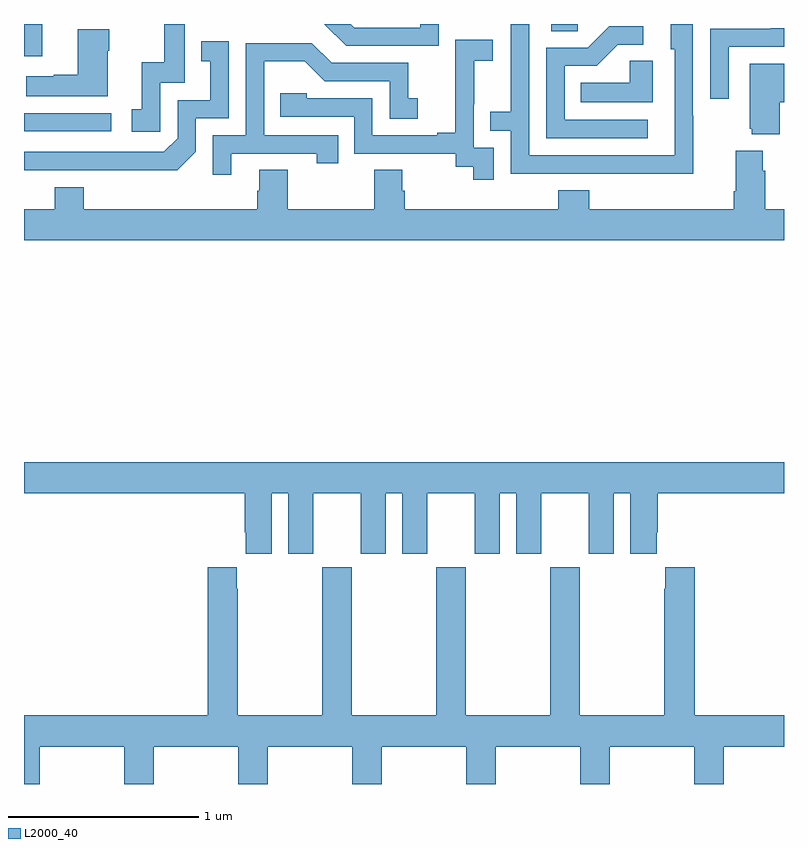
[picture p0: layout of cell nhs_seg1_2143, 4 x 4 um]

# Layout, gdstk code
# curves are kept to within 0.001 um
import gdstk
lib = gdstk.Library(unit=1e-6, precision=1e-09)
def R(c, l, rs):  # rectangles x0, y0, x1, y1
    for r in rs: c.add(gdstk.rectangle(r[:2], r[2:], *l))
def P(c, l, *ps):  # polygons
    for p in ps: c.add(gdstk.Polygon(p, *l))
L2000_40 = (2000, 40)

nhs_seg1_2143 = lib.new_cell('nhs_seg1_2143')
R(nhs_seg1_2143, L2000_40, [(227,557.634,227.458,557.73), (227,558.03,227.095,558.199), (229.775,558.16,229.914,558.199)])
P(nhs_seg1_2143, L2000_40, [(227.718,557.889),(227.847,557.889),(227.847,558.199),(227.739,558.199),(227.739,557.998),(227.621,557.998),(227.621,557.751),(227.568,557.751),(227.568,557.631),(227.718,557.631)],
  [(229.182,558.199),(229.085,558.199),(229.085,558.18),(228.738,558.18),(228.719,558.199),(228.581,558.199),(228.696,558.084),(229.182,558.084)],
  [(230.523,557.717),(230.52,557.717),(230.52,558.199),(230.405,558.199),(230.405,558.066),(230.424,558.066),(230.424,557.508),(229.659,557.508),(229.659,558.199),(229.563,558.199),(229.563,557.738),(229.453,557.738),(229.453,557.637),(229.563,557.637),(229.563,557.412),(230.059,557.412),(230.059,557.411),(230.523,557.411)],
  [(230.284,557.694),(229.845,557.694),(229.845,557.979),(230.014,557.979),(230.125,558.09),(230.26,558.09),(230.26,558.188),(230.081,558.188),(229.968,558.075),(229.749,558.075),(229.749,557.598),(230.284,557.598)],
  [(230.709,558.078),(231,558.078),(231,558.176),(230.929,558.176),(230.929,558.174),(230.613,558.174),(230.613,557.805),(230.709,557.805)],
  [(227.44,558.059),(227.448,558.059),(227.448,558.172),(227.282,558.172),(227.282,557.933),(227.156,557.933),(227.156,557.923),(227.013,557.923),(227.013,557.819),(227.44,557.819)],
  [(229.473,557.547),(229.368,557.547),(229.368,557.777),(229.37,557.777),(229.37,558.005),(229.468,558.005),(229.468,558.115),(229.27,558.115),(229.27,557.909),(229.271,557.909),(229.271,557.626),(229.175,557.626),(229.175,557.613),(228.834,557.613),(228.834,557.808),(228.489,557.808),(228.489,557.835),(228.349,557.835),(228.349,557.712),(228.738,557.712),(228.738,557.517),(229.272,557.517),(229.272,557.449),(229.365,557.449),(229.365,557.379),(229.473,557.379)],
  [(227.904,557.526),(227.904,557.703),(228.078,557.703),(228.078,558.109),(227.932,558.109),(227.932,558.003),(227.981,558.003),(227.981,557.799),(227.808,557.799),(227.808,557.598),(227.736,557.526),(227,557.526),(227,557.43),(227.806,557.429)],
  [(228.091,557.517),(228.542,557.517),(228.542,557.466),(228.653,557.466),(228.653,557.613),(228.264,557.613),(228.264,558.002),(228.478,558.002),(228.582,557.898),(228.924,557.898),(228.924,557.7),(229.072,557.7),(229.072,557.809),(229.023,557.809),(229.023,557.994),(228.619,557.994),(228.514,558.099),(228.168,558.099),(228.168,557.613),(227.994,557.613),(227.994,557.406),(228.091,557.406)],
  [(230.308,558.005),(230.187,558.005),(230.187,557.89),(229.93,557.89),(229.93,557.786),(230.308,557.786)],
  [(230.977,557.786),(231,557.786),(231,557.989),(230.819,557.989),(230.819,557.649),(230.831,557.649),(230.831,557.618),(230.977,557.618)],
  [(231,557.224),(230.9,557.224),(230.9,557.426),(230.887,557.426),(230.887,557.533),(230.747,557.533),(230.747,557.32),(230.735,557.32),(230.735,557.224),(229.976,557.224),(229.976,557.323),(229.811,557.323),(229.811,557.224),(229.004,557.224),(229.004,557.322),(228.991,557.322),(228.991,557.432),(228.844,557.432),(228.844,557.224),(228.387,557.224),(228.387,557.432),(228.239,557.432),(228.239,557.322),(228.227,557.322),(228.227,557.224),(227.315,557.224),(227.315,557.341),(227.162,557.341),(227.162,557.224),(227,557.224),(227,557.06),(231,557.06)],
  [(228.304,555.728),(228.392,555.728),(228.392,555.411),(228.523,555.411),(228.523,555.728),(228.773,555.728),(228.773,555.411),(228.904,555.411),(228.904,555.728),(228.992,555.728),(228.992,555.411),(229.123,555.411),(229.123,555.728),(229.373,555.728),(229.373,555.411),(229.504,555.411),(229.504,555.728),(229.592,555.728),(229.592,555.411),(229.723,555.411),(229.723,555.728),(229.973,555.728),(229.973,555.411),(230.104,555.411),(230.104,555.728),(230.192,555.728),(230.192,555.411),(230.329,555.411),(230.329,555.523),(230.336,555.523),(230.336,555.728),(231,555.728),(231,555.892),(227,555.892),(227,555.728),(228.161,555.728),(228.161,555.523),(228.167,555.523),(228.167,555.411),(228.304,555.411)],
  [(227.082,554.396),(227.527,554.396),(227.527,554.199),(227.682,554.199),(227.682,554.396),(228.127,554.396),(228.127,554.199),(228.282,554.199),(228.282,554.396),(228.727,554.396),(228.727,554.199),(228.882,554.199),(228.882,554.396),(229.327,554.396),(229.327,554.199),(229.482,554.199),(229.482,554.396),(229.927,554.396),(229.927,554.199),(230.082,554.199),(230.082,554.396),(230.527,554.396),(230.527,554.199),(230.682,554.199),(230.682,554.396),(231,554.396),(231,554.56),(230.531,554.56),(230.531,555.34),(230.375,555.34),(230.375,555.227),(230.371,555.227),(230.371,554.56),(229.926,554.56),(229.926,555.34),(229.771,555.34),(229.771,554.56),(229.326,554.56),(229.326,555.34),(229.171,555.34),(229.171,554.56),(228.726,554.56),(228.726,555.34),(228.571,555.34),(228.571,554.56),(228.126,554.56),(228.126,555.227),(228.121,555.227),(228.121,555.34),(227.966,555.34),(227.966,554.56),(227,554.56),(227,554.199),(227.082,554.199)])

lib.write_gds('nhs_seg1_2143.gds')
